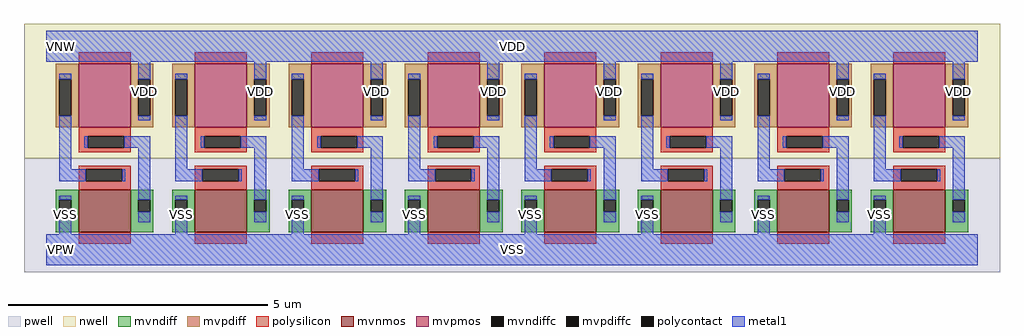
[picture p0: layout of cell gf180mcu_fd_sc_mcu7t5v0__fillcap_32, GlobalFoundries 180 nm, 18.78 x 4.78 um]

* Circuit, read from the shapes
.subckt gf180mcu_fd_sc_mcu7t5v0__fillcap_32 VDD VNW VPW VSS
XM1 n1 n2 VSS VPW nfet_06v0 w=0.82u l=1u
XM2 n3 n4 VSS VPW nfet_06v0 w=0.82u l=1u
XM3 n5 n6 VSS VPW nfet_06v0 w=0.82u l=1u
XM4 n7 n8 VSS VPW nfet_06v0 w=0.82u l=1u
XM5 n9 n10 VSS VPW nfet_06v0 w=0.82u l=1u
XM6 n11 n12 VSS VPW nfet_06v0 w=0.82u l=1u
XM7 n13 n14 VSS VPW nfet_06v0 w=0.82u l=1u
XM8 n15 n16 VSS VPW nfet_06v0 w=0.82u l=1u
XM9 VDD n1 n2 VNW pfet_06v0 w=1.22u l=1u
XM10 VDD n3 n4 VNW pfet_06v0 w=1.22u l=1u
XM11 VDD n5 n6 VNW pfet_06v0 w=1.22u l=1u
XM12 VDD n7 n8 VNW pfet_06v0 w=1.22u l=1u
XM13 VDD n9 n10 VNW pfet_06v0 w=1.22u l=1u
XM14 VDD n11 n12 VNW pfet_06v0 w=1.22u l=1u
XM15 VDD n13 n14 VNW pfet_06v0 w=1.22u l=1u
XM16 VDD n15 n16 VNW pfet_06v0 w=1.22u l=1u
.ends

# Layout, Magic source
magic
tech gf180mcuD
magscale 1 10
<< nwell >>
rect -86 352 3670 870
<< pwell >>
rect -86 -86 3670 352
<< mvnmos >>
rect 124 68 324 232
rect 572 68 772 232
rect 1020 68 1220 232
rect 1468 68 1668 232
rect 1916 68 2116 232
rect 2364 68 2564 232
rect 2812 68 3012 232
rect 3260 68 3460 232
<< mvpmos >>
rect 124 472 324 716
rect 572 472 772 716
rect 1020 472 1220 716
rect 1468 472 1668 716
rect 1916 472 2116 716
rect 2364 472 2564 716
rect 2812 472 3012 716
rect 3260 472 3460 716
<< mvndiff >>
rect 36 192 124 232
rect 36 146 49 192
rect 95 146 124 192
rect 36 68 124 146
rect 324 192 412 232
rect 324 146 353 192
rect 399 146 412 192
rect 324 68 412 146
rect 484 192 572 232
rect 484 146 497 192
rect 543 146 572 192
rect 484 68 572 146
rect 772 192 860 232
rect 772 146 801 192
rect 847 146 860 192
rect 772 68 860 146
rect 932 192 1020 232
rect 932 146 945 192
rect 991 146 1020 192
rect 932 68 1020 146
rect 1220 192 1308 232
rect 1220 146 1249 192
rect 1295 146 1308 192
rect 1220 68 1308 146
rect 1380 192 1468 232
rect 1380 146 1393 192
rect 1439 146 1468 192
rect 1380 68 1468 146
rect 1668 192 1756 232
rect 1668 146 1697 192
rect 1743 146 1756 192
rect 1668 68 1756 146
rect 1828 192 1916 232
rect 1828 146 1841 192
rect 1887 146 1916 192
rect 1828 68 1916 146
rect 2116 192 2204 232
rect 2116 146 2145 192
rect 2191 146 2204 192
rect 2116 68 2204 146
rect 2276 192 2364 232
rect 2276 146 2289 192
rect 2335 146 2364 192
rect 2276 68 2364 146
rect 2564 192 2652 232
rect 2564 146 2593 192
rect 2639 146 2652 192
rect 2564 68 2652 146
rect 2724 192 2812 232
rect 2724 146 2737 192
rect 2783 146 2812 192
rect 2724 68 2812 146
rect 3012 192 3100 232
rect 3012 146 3041 192
rect 3087 146 3100 192
rect 3012 68 3100 146
rect 3172 192 3260 232
rect 3172 146 3185 192
rect 3231 146 3260 192
rect 3172 68 3260 146
rect 3460 192 3548 232
rect 3460 146 3489 192
rect 3535 146 3548 192
rect 3460 68 3548 146
<< mvpdiff >>
rect 36 657 124 716
rect 36 517 49 657
rect 95 517 124 657
rect 36 472 124 517
rect 324 657 412 716
rect 324 517 353 657
rect 399 517 412 657
rect 324 472 412 517
rect 484 657 572 716
rect 484 517 497 657
rect 543 517 572 657
rect 484 472 572 517
rect 772 657 860 716
rect 772 517 801 657
rect 847 517 860 657
rect 772 472 860 517
rect 932 657 1020 716
rect 932 517 945 657
rect 991 517 1020 657
rect 932 472 1020 517
rect 1220 657 1308 716
rect 1220 517 1249 657
rect 1295 517 1308 657
rect 1220 472 1308 517
rect 1380 657 1468 716
rect 1380 517 1393 657
rect 1439 517 1468 657
rect 1380 472 1468 517
rect 1668 657 1756 716
rect 1668 517 1697 657
rect 1743 517 1756 657
rect 1668 472 1756 517
rect 1828 657 1916 716
rect 1828 517 1841 657
rect 1887 517 1916 657
rect 1828 472 1916 517
rect 2116 657 2204 716
rect 2116 517 2145 657
rect 2191 517 2204 657
rect 2116 472 2204 517
rect 2276 657 2364 716
rect 2276 517 2289 657
rect 2335 517 2364 657
rect 2276 472 2364 517
rect 2564 657 2652 716
rect 2564 517 2593 657
rect 2639 517 2652 657
rect 2564 472 2652 517
rect 2724 657 2812 716
rect 2724 517 2737 657
rect 2783 517 2812 657
rect 2724 472 2812 517
rect 3012 657 3100 716
rect 3012 517 3041 657
rect 3087 517 3100 657
rect 3012 472 3100 517
rect 3172 657 3260 716
rect 3172 517 3185 657
rect 3231 517 3260 657
rect 3172 472 3260 517
rect 3460 657 3548 716
rect 3460 517 3489 657
rect 3535 517 3548 657
rect 3460 472 3548 517
<< mvndiffc >>
rect 49 146 95 192
rect 353 146 399 192
rect 497 146 543 192
rect 801 146 847 192
rect 945 146 991 192
rect 1249 146 1295 192
rect 1393 146 1439 192
rect 1697 146 1743 192
rect 1841 146 1887 192
rect 2145 146 2191 192
rect 2289 146 2335 192
rect 2593 146 2639 192
rect 2737 146 2783 192
rect 3041 146 3087 192
rect 3185 146 3231 192
rect 3489 146 3535 192
<< mvpdiffc >>
rect 49 517 95 657
rect 353 517 399 657
rect 497 517 543 657
rect 801 517 847 657
rect 945 517 991 657
rect 1249 517 1295 657
rect 1393 517 1439 657
rect 1697 517 1743 657
rect 1841 517 1887 657
rect 2145 517 2191 657
rect 2289 517 2335 657
rect 2593 517 2639 657
rect 2737 517 2783 657
rect 3041 517 3087 657
rect 3185 517 3231 657
rect 3489 517 3535 657
<< polysilicon >>
rect 124 716 324 760
rect 572 716 772 760
rect 1020 716 1220 760
rect 1468 716 1668 760
rect 1916 716 2116 760
rect 2364 716 2564 760
rect 2812 716 3012 760
rect 3260 716 3460 760
rect 124 438 324 472
rect 124 392 160 438
rect 300 392 324 438
rect 124 375 324 392
rect 572 438 772 472
rect 572 392 608 438
rect 748 392 772 438
rect 572 375 772 392
rect 1020 438 1220 472
rect 1020 392 1056 438
rect 1196 392 1220 438
rect 1020 375 1220 392
rect 1468 438 1668 472
rect 1468 392 1504 438
rect 1644 392 1668 438
rect 1468 375 1668 392
rect 1916 438 2116 472
rect 1916 392 1952 438
rect 2092 392 2116 438
rect 1916 375 2116 392
rect 2364 438 2564 472
rect 2364 392 2400 438
rect 2540 392 2564 438
rect 2364 375 2564 392
rect 2812 438 3012 472
rect 2812 392 2848 438
rect 2988 392 3012 438
rect 2812 375 3012 392
rect 3260 438 3460 472
rect 3260 392 3296 438
rect 3436 392 3460 438
rect 3260 375 3460 392
rect 124 311 324 324
rect 124 265 152 311
rect 292 265 324 311
rect 124 232 324 265
rect 572 311 772 324
rect 572 265 600 311
rect 740 265 772 311
rect 572 232 772 265
rect 1020 311 1220 324
rect 1020 265 1048 311
rect 1188 265 1220 311
rect 1020 232 1220 265
rect 1468 311 1668 324
rect 1468 265 1496 311
rect 1636 265 1668 311
rect 1468 232 1668 265
rect 1916 311 2116 324
rect 1916 265 1944 311
rect 2084 265 2116 311
rect 1916 232 2116 265
rect 2364 311 2564 324
rect 2364 265 2392 311
rect 2532 265 2564 311
rect 2364 232 2564 265
rect 2812 311 3012 324
rect 2812 265 2840 311
rect 2980 265 3012 311
rect 2812 232 3012 265
rect 3260 311 3460 324
rect 3260 265 3288 311
rect 3428 265 3460 311
rect 3260 232 3460 265
rect 124 24 324 68
rect 572 24 772 68
rect 1020 24 1220 68
rect 1468 24 1668 68
rect 1916 24 2116 68
rect 2364 24 2564 68
rect 2812 24 3012 68
rect 3260 24 3460 68
<< polycontact >>
rect 160 392 300 438
rect 608 392 748 438
rect 1056 392 1196 438
rect 1504 392 1644 438
rect 1952 392 2092 438
rect 2400 392 2540 438
rect 2848 392 2988 438
rect 3296 392 3436 438
rect 152 265 292 311
rect 600 265 740 311
rect 1048 265 1188 311
rect 1496 265 1636 311
rect 1944 265 2084 311
rect 2392 265 2532 311
rect 2840 265 2980 311
rect 3288 265 3428 311
<< metal1 >>
rect 0 724 3584 844
rect 49 657 95 678
rect 49 311 95 517
rect 353 657 399 724
rect 353 498 399 517
rect 497 657 543 678
rect 146 392 160 438
rect 300 392 399 438
rect 49 265 152 311
rect 292 265 304 311
rect 49 192 95 209
rect 49 60 95 146
rect 353 192 399 392
rect 497 311 543 517
rect 801 657 847 724
rect 801 498 847 517
rect 945 657 991 678
rect 594 392 608 438
rect 748 392 847 438
rect 497 265 600 311
rect 740 265 752 311
rect 353 106 399 146
rect 497 192 543 209
rect 497 60 543 146
rect 801 192 847 392
rect 945 311 991 517
rect 1249 657 1295 724
rect 1249 498 1295 517
rect 1393 657 1439 678
rect 1042 392 1056 438
rect 1196 392 1295 438
rect 945 265 1048 311
rect 1188 265 1200 311
rect 801 106 847 146
rect 945 192 991 209
rect 945 60 991 146
rect 1249 192 1295 392
rect 1393 311 1439 517
rect 1697 657 1743 724
rect 1697 498 1743 517
rect 1841 657 1887 678
rect 1490 392 1504 438
rect 1644 392 1743 438
rect 1393 265 1496 311
rect 1636 265 1648 311
rect 1249 106 1295 146
rect 1393 192 1439 209
rect 1393 60 1439 146
rect 1697 192 1743 392
rect 1841 311 1887 517
rect 2145 657 2191 724
rect 2145 498 2191 517
rect 2289 657 2335 678
rect 1938 392 1952 438
rect 2092 392 2191 438
rect 1841 265 1944 311
rect 2084 265 2096 311
rect 1697 106 1743 146
rect 1841 192 1887 209
rect 1841 60 1887 146
rect 2145 192 2191 392
rect 2289 311 2335 517
rect 2593 657 2639 724
rect 2593 498 2639 517
rect 2737 657 2783 678
rect 2386 392 2400 438
rect 2540 392 2639 438
rect 2289 265 2392 311
rect 2532 265 2544 311
rect 2145 106 2191 146
rect 2289 192 2335 209
rect 2289 60 2335 146
rect 2593 192 2639 392
rect 2737 311 2783 517
rect 3041 657 3087 724
rect 3041 498 3087 517
rect 3185 657 3231 678
rect 2834 392 2848 438
rect 2988 392 3087 438
rect 2737 265 2840 311
rect 2980 265 2992 311
rect 2593 106 2639 146
rect 2737 192 2783 209
rect 2737 60 2783 146
rect 3041 192 3087 392
rect 3185 311 3231 517
rect 3489 657 3535 724
rect 3489 498 3535 517
rect 3282 392 3296 438
rect 3436 392 3535 438
rect 3185 265 3288 311
rect 3428 265 3440 311
rect 3041 106 3087 146
rect 3185 192 3231 209
rect 3185 60 3231 146
rect 3489 192 3535 392
rect 3489 106 3535 146
rect 0 -60 3584 60
<< labels >>
flabel metal1 s 0 724 3584 844 0 FreeSans 400 0 0 0 VDD
port 1 nsew power bidirectional abutment
flabel metal1 s 3185 60 3231 209 0 FreeSans 400 0 0 0 VSS
port 4 nsew ground bidirectional abutment
flabel nwell s 10 734 110 834 0 FreeSans 400 0 0 0 VNW
port 2 nsew power bidirectional
flabel pwell s 10 -50 110 50 0 FreeSans 400 0 0 0 VPW
port 3 nsew ground bidirectional
rlabel metal1 s 3489 498 3535 724 1 VDD
port 1 nsew power bidirectional abutment
rlabel metal1 s 3041 498 3087 724 1 VDD
port 1 nsew power bidirectional abutment
rlabel metal1 s 2593 498 2639 724 1 VDD
port 1 nsew power bidirectional abutment
rlabel metal1 s 2145 498 2191 724 1 VDD
port 1 nsew power bidirectional abutment
rlabel metal1 s 1697 498 1743 724 1 VDD
port 1 nsew power bidirectional abutment
rlabel metal1 s 1249 498 1295 724 1 VDD
port 1 nsew power bidirectional abutment
rlabel metal1 s 801 498 847 724 1 VDD
port 1 nsew power bidirectional abutment
rlabel metal1 s 353 498 399 724 1 VDD
port 1 nsew power bidirectional abutment
rlabel metal1 s 2737 60 2783 209 1 VSS
port 4 nsew ground bidirectional abutment
rlabel metal1 s 2289 60 2335 209 1 VSS
port 4 nsew ground bidirectional abutment
rlabel metal1 s 1841 60 1887 209 1 VSS
port 4 nsew ground bidirectional abutment
rlabel metal1 s 1393 60 1439 209 1 VSS
port 4 nsew ground bidirectional abutment
rlabel metal1 s 945 60 991 209 1 VSS
port 4 nsew ground bidirectional abutment
rlabel metal1 s 497 60 543 209 1 VSS
port 4 nsew ground bidirectional abutment
rlabel metal1 s 49 60 95 209 1 VSS
port 4 nsew ground bidirectional abutment
rlabel metal1 s 0 -60 3584 60 1 VSS
port 4 nsew ground bidirectional abutment
<< properties >>
string FIXED_BBOX 0 0 3584 784
string GDS_END 402846
string GDS_FILE $PDKPATH/libs.ref/gf180mcu_fd_sc_mcu7t5v0/gds/gf180mcu_fd_sc_mcu7t5v0.gds
string GDS_START 392726
string LEFclass core SPACER
string LEFsite GF018hv5v_mcu_sc7
string LEFsymmetry X Y
<< end >>
